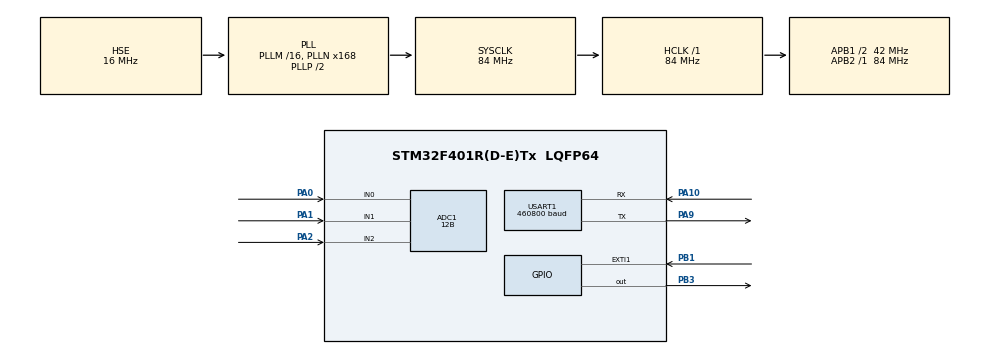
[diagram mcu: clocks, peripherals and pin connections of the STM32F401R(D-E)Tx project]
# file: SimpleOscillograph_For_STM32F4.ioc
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ADC1.Channel-0\#ChannelRegularConversion=ADC_CHANNEL_0
ADC1.Channel-1\#ChannelRegularConversion=ADC_CHANNEL_1
ADC1.Channel-2\#ChannelRegularConversion=ADC_CHANNEL_2
ADC1.ClockPrescaler=ADC_CLOCK_SYNC_PCLK_DIV2
ADC1.ContinuousConvMode=ENABLE
ADC1.DMAContinuousRequests=ENABLE
ADC1.DataAlign=ADC_DATAALIGN_RIGHT
ADC1.DiscontinuousConvMode=DISABLE
ADC1.EOCSelection=ADC_EOC_SINGLE_CONV
ADC1.EnableAnalogWatchDog=false
ADC1.ExternalTrigConvEdge=ADC_EXTERNALTRIGCONVEDGE_NONE
ADC1.InjNumberOfConversion=0
ADC1.NbrOfConversion=3
ADC1.NbrOfConversionFlag=1
ADC1.Rank-0\#ChannelRegularConversion=1
ADC1.Rank-1\#ChannelRegularConversion=2
ADC1.Rank-2\#ChannelRegularConversion=3
ADC1.Resolution=ADC_RESOLUTION_12B
ADC1.SamplingTime-0\#ChannelRegularConversion=ADC_SAMPLETIME_3CYCLES
ADC1.SamplingTime-1\#ChannelRegularConversion=ADC_SAMPLETIME_3CYCLES
ADC1.SamplingTime-2\#ChannelRegularConversion=ADC_SAMPLETIME_3CYCLES
ADC1.ScanConvMode=ENABLE
ADC1.master=1
Dma.ADC1.1.Channel=DMA_CHANNEL_0
Dma.ADC1.1.Direction=DMA_PERIPH_TO_MEMORY
Dma.ADC1.1.FIFOMode=DMA_FIFOMODE_DISABLE
Dma.ADC1.1.Instance=DMA2_Stream0
Dma.ADC1.1.MemDataAlignment=DMA_MDATAALIGN_HALFWORD
Dma.ADC1.1.MemInc=DMA_MINC_ENABLE
Dma.ADC1.1.Mode=DMA_CIRCULAR
Dma.ADC1.1.PeriphDataAlignment=DMA_PDATAALIGN_HALFWORD
Dma.ADC1.1.PeriphInc=DMA_PINC_DISABLE
Dma.ADC1.1.Priority=DMA_PRIORITY_LOW
Dma.Request0=USART1_RX
Dma.Request1=ADC1
Dma.USART1_RX.0.Channel=DMA_CHANNEL_4
Dma.USART1_RX.0.Direction=DMA_PERIPH_TO_MEMORY
Dma.USART1_RX.0.FIFOMode=DMA_FIFOMODE_DISABLE
Dma.USART1_RX.0.Instance=DMA2_Stream2
Dma.USART1_RX.0.MemDataAlignment=DMA_MDATAALIGN_BYTE
Dma.USART1_RX.0.MemInc=DMA_MINC_ENABLE
Dma.USART1_RX.0.Mode=DMA_CIRCULAR
Dma.USART1_RX.0.PeriphDataAlignment=DMA_PDATAALIGN_BYTE
Dma.USART1_RX.0.PeriphInc=DMA_PINC_DISABLE
Dma.USART1_RX.0.Priority=DMA_PRIORITY_LOW
Mcu.Family=STM32F4
Mcu.Name=STM32F401R(D-E)Tx
Mcu.Package=LQFP64
NVIC.DMA2_Stream0_IRQn=true\:15\:0\:true\:false\:true
NVIC.DMA2_Stream2_IRQn=true\:0\:0\:true\:false\:true
NVIC.EXTI1_IRQn=true\:1\:0\:true\:false\:true
NVIC.PriorityGroup=NVIC_PRIORITYGROUP_4
NVIC.TIM1_UP_TIM10_IRQn=true\:2\:0\:true\:false\:true
PA0-WKUP.Signal=ADCx_IN0
PA1.Signal=ADCx_IN1
PA10.Mode=Asynchronous
PA10.Signal=USART1_RX
PA2.Signal=ADCx_IN2
PA9.Mode=Asynchronous
PA9.Signal=USART1_TX
PB1.Signal=GPXTI1
PB3.Signal=GPIO_Output
PH0\ -\ OSC_IN.Mode=HSE-External-Oscillator
PH0\ -\ OSC_IN.Signal=RCC_OSC_IN
PH1\ -\ OSC_OUT.Mode=HSE-External-Oscillator
PH1\ -\ OSC_OUT.Signal=RCC_OSC_OUT
ProjectManager.HeapSize=0x200
ProjectManager.StackSize=0x400
ProjectManager.TargetToolchain=MDK-ARM V5
RCC.48MHZClocksFreq_Value=42000000
RCC.AHBFreq_Value=84000000
RCC.APB1CLKDivider=RCC_HCLK_DIV2
RCC.APB1Freq_Value=42000000
RCC.APB1TimFreq_Value=84000000
RCC.APB2Freq_Value=84000000
RCC.APB2TimFreq_Value=84000000
RCC.CortexFreq_Value=84000000
RCC.HCLKFreq_Value=84000000
RCC.HSE_VALUE=16000000
RCC.HSI_VALUE=16000000
RCC.LSE_VALUE=32768
RCC.PLLN=168
RCC.PLLSourceVirtual=RCC_PLLSOURCE_HSE
RCC.SYSCLKFreq_VALUE=84000000
RCC.SYSCLKSource=RCC_SYSCLKSOURCE_PLLCLK
RCC.VCOOutputFreq_Value=168000000
RCC.VDD_VALUE=3.3
SH.ADCx_IN0.0=ADC1_IN0,IN0
SH.ADCx_IN1.0=ADC1_IN1,IN1
SH.ADCx_IN2.0=ADC1_IN2,IN2
TIM1.Prescaler=(84-1)
USART1.BaudRate=460800
VP_TIM1_VS_ClockSourceINT.Mode=Internal
board=SimpleOscillograph_For_STM32F4

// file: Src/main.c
/**
  ******************************************************************************
  * File Name          : main.c
  * Description        : Main program body
  ******************************************************************************
  *
  * COPYRIGHT(c) 2016 STMicroelectronics
  *
  * Redistribution and use in source and binary forms, with or without modification,
  * are permitted provided that the following conditions are met:
  *   1. Redistributions of source code must retain the above copyright notice,
  *      this list of conditions and the following disclaimer.
  *   2. Redistributions in binary form must reproduce the above copyright notice,
  *      this list of conditions and the following disclaimer in the documentation
  *      and/or other materials provided with the distribution.
  *   3. Neither the name of STMicroelectronics nor the names of its contributors
  *      may be used to endorse or promote products derived from this software
  *      without specific prior written permission.
  *
  * THIS SOFTWARE IS PROVIDED BY THE COPYRIGHT HOLDERS AND CONTRIBUTORS "AS IS"
  * AND ANY EXPRESS OR IMPLIED WARRANTIES, INCLUDING, BUT NOT LIMITED TO, THE
  * IMPLIED WARRANTIES OF MERCHANTABILITY AND FITNESS FOR A PARTICULAR PURPOSE ARE
  * DISCLAIMED. IN NO EVENT SHALL THE COPYRIGHT HOLDER OR CONTRIBUTORS BE LIABLE
  * FOR ANY DIRECT, INDIRECT, INCIDENTAL, SPECIAL, EXEMPLARY, OR CONSEQUENTIAL
  * DAMAGES (INCLUDING, BUT NOT LIMITED TO, PROCUREMENT OF SUBSTITUTE GOODS OR
  * SERVICES; LOSS OF USE, DATA, OR PROFITS; OR BUSINESS INTERRUPTION) HOWEVER
  * CAUSED AND ON ANY THEORY OF LIABILITY, WHETHER IN CONTRACT, STRICT LIABILITY,
  * OR TORT (INCLUDING NEGLIGENCE OR OTHERWISE) ARISING IN ANY WAY OUT OF THE USE
  * OF THIS SOFTWARE, EVEN IF ADVISED OF THE POSSIBILITY OF SUCH DAMAGE.
  *
  ******************************************************************************
  */
#include "stm32f4xx_hal.h"
#include "adc.h"
#include "dma.h"
#include "tim.h"
#include "usart.h"
#include "gpio.h"

/* USER CODE BEGIN Includes */
#include "mydef.h"

/* USER CODE END Includes */

/* USER CODE BEGIN PV */
/* Private variables ---------------------------------------------------------*/

/* USER CODE END PV */

void SystemClock_Config(void);

/* USER CODE BEGIN PFP */
/* Private function prototypes -----------------------------------------------*/
void scan(void);
void send(void);
void on_send_finish(void);

/* USER CODE END PFP */

/* USER CODE BEGIN 0 */

//interval_time 采样时间间隔：1/FS
volatile u32 FS         = 100000u;  //初始显示100KHz
//abort flag
volatile u8 is_abort    = 0;        //1：放弃本次发送
// scan mode
volatile u8 scan_mode   = 0;        //0：实时采样（正常模式） 1：采集的同时发送数据 适合低频信号
volatile u16 value_i    = 0;        //记录正在采集到本次第几个点  范围：0至(number_of_data-1)
volatile u8 SCAN_IS_OK  = 0;        //标记是否为采集完毕
// TriggerMode
volatile u8 trigger_mode= 0;        //0：发送完成自动触发 1 2 3分别为上升 下降 边沿触发
volatile EXTITrigger_TypeDef TriggerMode;  //用于记录中断模式(触发模式)

// 缓冲区 从触发开始，以采样频率FS存储num_of_data个点，之后一并发给串口
#if USE_CHANNEL_C1
volatile u16 C1_value[num_of_data];
#endif
#if USE_CHANNEL_C2
volatile u16 C2_value[num_of_data];
#endif
#if USE_CHANNEL_C3
volatile u16 C3_value[num_of_data];
#endif

// ADC转换的电压值通过MDA方式传到SRAM
volatile uint16_t ADC_ConvertedValue[3];

/* USER CODE END 0 */

int main(void)
{

  /* USER CODE BEGIN 1 */
  u8 no_use;

  /* USER CODE END 1 */

  /* MCU Configuration----------------------------------------------------------*/

  /* Reset of all peripherals, Initializes the Flash interface and the Systick. */
  HAL_Init();

  /* Configure the system clock */
  SystemClock_Config();

  /* Initialize all configured peripherals */
  MX_GPIO_Init();
  MX_DMA_Init();
  MX_ADC1_Init();
  MX_TIM1_Init();
  MX_USART1_UART_Init();

  /* USER CODE BEGIN 2 */
    SystemCoreClockUpdate();
    printf("SystemCoreClock = %d\r\n", SystemCoreClock);

    /* 先关闭DMA中断 否则会非常非常浪费资源 甚至死机 CubeMX没有禁用的选项所以为了移植性在这里关闭 */
    HAL_NVIC_DisableIRQ(DMA2_Stream0_IRQn);

    /* enable adc1 and config adc1 to dma mode */
    HAL_ADC_Start_DMA(&hadc1, (uint32_t*)ADC_ConvertedValue, 3);

    HAL_UART_Receive_DMA(&huart1, (uint8_t *)&no_use, 1);

    /* LED */
    LED(ON);

    /* TIM 定时配置 */
    TIM_ConfigFrequency(FS);  //初始FS(100KHz)

    //初始化关闭触发中断
    EXTI_DISABLE;

    PRINTF_LABVIEW("\r\n------ SimpleOscillograph For STM32 ------\r\n");

    //发送ADC信息，供上位机处理ad原始值
    PRINTF_LABVIEW("VC:%f\r\n", VCC_V);  //VCC
    PRINTF_LABVIEW("AD:%d\r\n", ADC_B);  //adc位数

    //开始一次采集，用于调试
    START_NEW_SCAN;

  /* USER CODE END 2 */

  /* Infinite loop */
    while (1)
    {

  /* USER CODE BEGIN 3 */
        if (scan_mode == 1)
        {
            //实时采样实时显示
            PRINTF_LABVIEW("C1:%d\r\nC2:%d\r\nC3:%d\r\n", ADC_ConvertedValue[0], ADC_ConvertedValue[1], ADC_ConvertedValue[2]);
        }
        if(SCAN_IS_OK == 1)
        {
            SCAN_IS_OK = 0;
            send();
        }
    }
  /* USER CODE END 3 */

}

/** System Clock Configuration
*/
void SystemClock_Config(void)
{

  RCC_OscInitTypeDef RCC_OscInitStruct;
  RCC_ClkInitTypeDef RCC_ClkInitStruct;

  __HAL_RCC_PWR_CLK_ENABLE();

  __HAL_PWR_VOLTAGESCALING_CONFIG(PWR_REGULATOR_VOLTAGE_SCALE2);

  RCC_OscInitStruct.OscillatorType = RCC_OSCILLATORTYPE_HSE;
  RCC_OscInitStruct.HSEState = RCC_HSE_ON;
  RCC_OscInitStruct.PLL.PLLState = RCC_PLL_ON;
  RCC_OscInitStruct.PLL.PLLSource = RCC_PLLSOURCE_HSE;
  RCC_OscInitStruct.PLL.PLLM = 16;
  RCC_OscInitStruct.PLL.PLLN = 168;
  RCC_OscInitStruct.PLL.PLLP = RCC_PLLP_DIV2;
  RCC_OscInitStruct.PLL.PLLQ = 4;
  HAL_RCC_OscConfig(&RCC_OscInitStruct);

  RCC_ClkInitStruct.ClockType = RCC_CLOCKTYPE_HCLK|RCC_CLOCKTYPE_SYSCLK
                              |RCC_CLOCKTYPE_PCLK1|RCC_CLOCKTYPE_PCLK2;
  RCC_ClkInitStruct.SYSCLKSource = RCC_SYSCLKSOURCE_PLLCLK;
  RCC_ClkInitStruct.AHBCLKDivider = RCC_SYSCLK_DIV1;
  RCC_ClkInitStruct.APB1CLKDivider = RCC_HCLK_DIV2;
  RCC_ClkInitStruct.APB2CLKDivider = RCC_HCLK_DIV1;
  HAL_RCC_ClockConfig(&RCC_ClkInitStruct, FLASH_LATENCY_2);

  HAL_SYSTICK_Config(HAL_RCC_GetHCLKFreq()/1000);

  HAL_SYSTICK_CLKSourceConfig(SYSTICK_CLKSOURCE_HCLK);

  /* SysTick_IRQn interrupt configuration */
  HAL_NVIC_SetPriority(SysTick_IRQn, 3, 0);
}

/* USER CODE BEGIN 4 */
/*
 * 数据发送函数
 * 直接发送原始值，发至上位机处理
 * 发送完毕后，启用外部中断以允许再次触发
 */
void send(void)
{
    u16 i = 0;

    //发送ADC信息，供上位机处理ad原始值
    PRINTF_LABVIEW("VC:%f\r\n", VCC_V);       //VCC
    PRINTF_LABVIEW("AD:%d\r\n", ADC_B);       //adc位数
    PRINTF_LABVIEW("FS:%d\r\n", FS);          //采样率
    PRINTF_LABVIEW("NM:%d\r\n", num_of_data); //数据个数(用于绘图）

    is_abort = 0;

    do
    {
#if USE_CHANNEL_C1
        PRINTF_LABVIEW("C1:%d\r\n", C1_value[i]);
#endif

#if USE_CHANNEL_C2
        PRINTF_LABVIEW("C2:%d\r\n", C2_value[i]);
#endif

#if USE_CHANNEL_C3
        PRINTF_LABVIEW("C3:%d\r\n", C3_value[i]);
#endif
    }
    while((++i < num_of_data) && (is_abort == 0) && (scan_mode == 0));

    PRINTF_LABVIEW("FN:OK\r\n");    //也利用这次发送为ADC启动转换延时到稳定
    on_send_finish();
}

//发送完毕需要重置一些参数和设置
void on_send_finish(void)
{
    LED(OFF);
    if(scan_mode == 0)
    {
        if(trigger_mode == 0)
        {
            //自动开始新的采集
            START_NEW_SCAN;
        }
        else if(trigger_mode == 4)
        {
            EXTI_DISABLE;
        }
        else
        {
            EXTI_ENABLE;
        }
    }
}

/* USER CODE END 4 */

/************************ (C) COPYRIGHT STMicroelectronics *****END OF FILE****/
